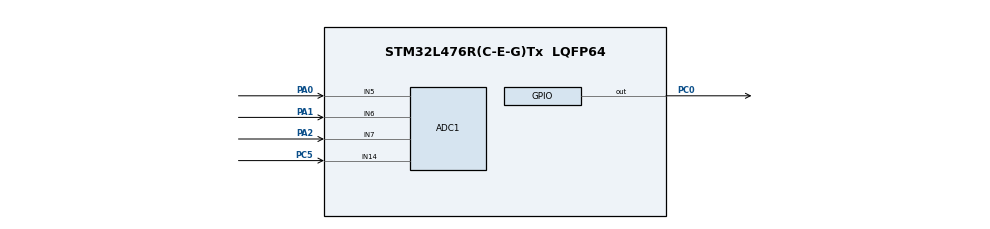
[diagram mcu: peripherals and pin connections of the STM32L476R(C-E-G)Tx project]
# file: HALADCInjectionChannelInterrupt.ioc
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ADC1.Channel-4\#ChannelRegularConversion=ADC_CHANNEL_5
ADC1.NbrOfConversionFlag=1
ADC1.OffsetNumber-4\#ChannelRegularConversion=ADC_OFFSET_NONE
ADC1.Rank-4\#ChannelRegularConversion=1
ADC1.SamplingTime-4\#ChannelRegularConversion=ADC_SAMPLETIME_2CYCLES_5
ADC1.master=1
Mcu.Family=STM32L4
Mcu.Name=STM32L476R(C-E-G)Tx
Mcu.Package=LQFP64
NVIC.PriorityGroup=NVIC_PRIORITYGROUP_4
PA0.Signal=ADCx_IN5
PA1.Signal=ADCx_IN6
PA2.Signal=ADCx_IN7
PC0.Signal=GPIO_Output
PC3.Signal=ADCx_IN4
PC5.Signal=ADCx_IN14
ProjectManager.HeapSize=0x200
ProjectManager.StackSize=0x400
ProjectManager.TargetToolchain=TrueSTUDIO
RCC.ADCFreq_Value=32000000
RCC.HSE_VALUE=8000000
RCC.HSI_VALUE=16000000
RCC.LSE_VALUE=32768
RCC.MSI_VALUE=4000000
RCC.PLLSAI1N=16
RCC.USBFreq_Value=32000000
RCC.VCOOutputFreq_Value=32000000
SH.ADCx_IN14.0=ADC1_IN14,IN14-Single-Ended
SH.ADCx_IN4.0=ADC1_IN4
SH.ADCx_IN5.0=ADC1_IN5,IN5-Single-Ended
SH.ADCx_IN6.0=ADC1_IN6,IN6-Single-Ended
SH.ADCx_IN7.0=ADC1_IN7,IN7-Single-Ended
board=HALADCInjectionChannelInterrupt

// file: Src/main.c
/* USER CODE BEGIN Header */
/**
  ******************************************************************************
  * @file           : main.c
  * @brief          : Main program body
  ******************************************************************************
  * @attention
  *
  * <h2><center>&copy; Copyright (c) 2020 STMicroelectronics.
  * All rights reserved.</center></h2>
  *
  * This software component is licensed by ST under BSD 3-Clause license,
  * the "License"; You may not use this file except in compliance with the
  * License. You may obtain a copy of the License at:
  *                        opensource.org/licenses/BSD-3-Clause
  *
  ******************************************************************************
  */

/* USER CODE END Header */

#include "main.h"

ADC_HandleTypeDef hadc1;

/* USER CODE BEGIN PV */
/* Private variables ---------------------------------------------------------*/
volatile uint16_t ADC_Data[4];
int cnt;
/* USER CODE END PV */

void SystemClock_Config(void);
static void MX_GPIO_Init(void);
static void MX_ADC1_Init(void);
/* USER CODE BEGIN PFP */
/* Private function prototypes -----------------------------------------------*/

/* USER CODE END PFP */

/* USER CODE BEGIN 0 */
int _write ( int file, char *ptr, int len )
{
  int i = 0;
  for ( i = 0; i < len; i++ )
    ITM_SendChar ( *ptr++ );
  return len;
}

void HAL_ADCEx_InjectedConvCpltCallback(ADC_HandleTypeDef* hadc1)
{
	HAL_GPIO_WritePin(GPIOC, GPIO_PIN_0,GPIO_PIN_SET);
	HAL_GPIO_WritePin(GPIOC, GPIO_PIN_0,GPIO_PIN_RESET);
//	cnt++;
//	ADC_Data[0] = HAL_ADCEx_InjectedGetValue(hadc1, ADC_INJECTED_RANK_1);
//	ADC_Data[1] = HAL_ADCEx_InjectedGetValue(hadc1, ADC_INJECTED_RANK_2);
	HAL_ADCEx_InjectedStart_IT(hadc1);
}
/* USER CODE END 0 */

int main(void)
{
  /* USER CODE BEGIN 1 */
	volatile uint16_t adcResults[4];
	//char str[9];
  /* USER CODE END 1 */

  /* MCU Configuration--------------------------------------------------------*/

  /* Reset of all peripherals, Initializes the Flash interface and the Systick. */
  HAL_Init();

  /* Configure the system clock */
  SystemClock_Config();

  /* Initialize all configured peripherals */
  MX_GPIO_Init();
  MX_ADC1_Init();

  /* Infinite loop */
  /* USER CODE BEGIN WHILE */

  cnt = 0;
  HAL_ADCEx_InjectedStart_IT(&hadc1);
  while (1)
  {
//	  HAL_ADCEx_InjectedStart(&hadc1);
//	  HAL_ADC_PollForConversion(&hadc1, 100);//таймаут за которые попробует взять результат. если не добудет - вернется с ошибкой
//	  ADC_Data[0] = HAL_ADCEx_InjectedGetValue(&hadc1, ADC_INJECTED_RANK_1);
//	  ADC_Data[1] = HAL_ADCEx_InjectedGetValue(&hadc1, ADC_INJECTED_RANK_2);
	  printf("A0 = %d, A1 = %d cnt = %d \n",ADC_Data[0], ADC_Data[1], cnt);

		  //_write(0, str1, 3);
	  HAL_Delay(500);

    /* USER CODE END WHILE */

  }
}

void SystemClock_Config(void)
{
  RCC_OscInitTypeDef RCC_OscInitStruct = {0};
  RCC_ClkInitTypeDef RCC_ClkInitStruct = {0};
  RCC_PeriphCLKInitTypeDef PeriphClkInit = {0};

  /** Initializes the CPU, AHB and APB busses clocks
  */
  RCC_OscInitStruct.OscillatorType = RCC_OSCILLATORTYPE_MSI;
  RCC_OscInitStruct.MSIState = RCC_MSI_ON;
  RCC_OscInitStruct.MSICalibrationValue = 0;
  RCC_OscInitStruct.MSIClockRange = RCC_MSIRANGE_6;
  RCC_OscInitStruct.PLL.PLLState = RCC_PLL_NONE;
  if (HAL_RCC_OscConfig(&RCC_OscInitStruct) != HAL_OK)
  {
    Error_Handler();
  }
  /** Initializes the CPU, AHB and APB busses clocks
  */
  RCC_ClkInitStruct.ClockType = RCC_CLOCKTYPE_HCLK|RCC_CLOCKTYPE_SYSCLK
                              |RCC_CLOCKTYPE_PCLK1|RCC_CLOCKTYPE_PCLK2;
  RCC_ClkInitStruct.SYSCLKSource = RCC_SYSCLKSOURCE_MSI;
  RCC_ClkInitStruct.AHBCLKDivider = RCC_SYSCLK_DIV1;
  RCC_ClkInitStruct.APB1CLKDivider = RCC_HCLK_DIV1;
  RCC_ClkInitStruct.APB2CLKDivider = RCC_HCLK_DIV1;

  if (HAL_RCC_ClockConfig(&RCC_ClkInitStruct, FLASH_LATENCY_0) != HAL_OK)
  {
    Error_Handler();
  }
  PeriphClkInit.PeriphClockSelection = RCC_PERIPHCLK_ADC;
  PeriphClkInit.AdcClockSelection = RCC_ADCCLKSOURCE_PLLSAI1;
  PeriphClkInit.PLLSAI1.PLLSAI1Source = RCC_PLLSOURCE_MSI;
  PeriphClkInit.PLLSAI1.PLLSAI1M = 1;
  PeriphClkInit.PLLSAI1.PLLSAI1N = 16;
  PeriphClkInit.PLLSAI1.PLLSAI1P = RCC_PLLP_DIV7;
  PeriphClkInit.PLLSAI1.PLLSAI1Q = RCC_PLLQ_DIV2;
  PeriphClkInit.PLLSAI1.PLLSAI1R = RCC_PLLR_DIV2;
  PeriphClkInit.PLLSAI1.PLLSAI1ClockOut = RCC_PLLSAI1_ADC1CLK;
  if (HAL_RCCEx_PeriphCLKConfig(&PeriphClkInit) != HAL_OK)
  {
    Error_Handler();
  }
  /** Configure the main internal regulator output voltage
  */
  if (HAL_PWREx_ControlVoltageScaling(PWR_REGULATOR_VOLTAGE_SCALE1) != HAL_OK)
  {
    Error_Handler();
  }
}

static void MX_ADC1_Init(void)
{

  ADC_MultiModeTypeDef multimode = {0};
  ADC_ChannelConfTypeDef sConfig = {0};

  /** Common config
  */
  hadc1.Instance = ADC1;
  hadc1.Init.ClockPrescaler = ADC_CLOCK_ASYNC_DIV1;
  hadc1.Init.Resolution = ADC_RESOLUTION_12B;
  hadc1.Init.DataAlign = ADC_DATAALIGN_RIGHT;
  hadc1.Init.ScanConvMode = ADC_SCAN_DISABLE;
  hadc1.Init.EOCSelection = ADC_EOC_SINGLE_CONV;
  hadc1.Init.LowPowerAutoWait = DISABLE;
  hadc1.Init.ContinuousConvMode = DISABLE;
  hadc1.Init.NbrOfConversion = 1;
  hadc1.Init.DiscontinuousConvMode = DISABLE;
  hadc1.Init.ExternalTrigConv = ADC_SOFTWARE_START;
  hadc1.Init.ExternalTrigConvEdge = ADC_EXTERNALTRIGCONVEDGE_NONE;
  hadc1.Init.DMAContinuousRequests = DISABLE;
  hadc1.Init.Overrun = ADC_OVR_DATA_PRESERVED;
  hadc1.Init.OversamplingMode = DISABLE;
  if (HAL_ADC_Init(&hadc1) != HAL_OK)
  {
    Error_Handler();
  }
  /** Configure the ADC multi-mode
  */
  multimode.Mode = ADC_MODE_INDEPENDENT;
  if (HAL_ADCEx_MultiModeConfigChannel(&hadc1, &multimode) != HAL_OK)
  {
    Error_Handler();
  }
  /** Configure Regular Channel
  */
  sConfig.Channel = ADC_CHANNEL_5;
  sConfig.Rank = ADC_REGULAR_RANK_1;
  sConfig.SamplingTime = ADC_SAMPLETIME_2CYCLES_5;
  sConfig.SingleDiff = ADC_SINGLE_ENDED;
  sConfig.OffsetNumber = ADC_OFFSET_NONE;
  sConfig.Offset = 0;
  if (HAL_ADC_ConfigChannel(&hadc1, &sConfig) != HAL_OK)
  {
    Error_Handler();
  }

}

static void MX_GPIO_Init(void)
{
  GPIO_InitTypeDef GPIO_InitStruct = {0};

  /* GPIO Ports Clock Enable */
  __HAL_RCC_GPIOC_CLK_ENABLE();
  __HAL_RCC_GPIOA_CLK_ENABLE();

  /*Configure GPIO pin Output Level */
  HAL_GPIO_WritePin(GPIOC, GPIO_PIN_0, GPIO_PIN_RESET);

  /*Configure GPIO pin : PC0 */
  GPIO_InitStruct.Pin = GPIO_PIN_0;
  GPIO_InitStruct.Mode = GPIO_MODE_OUTPUT_PP;
  GPIO_InitStruct.Pull = GPIO_NOPULL;
  GPIO_InitStruct.Speed = GPIO_SPEED_FREQ_LOW;
  HAL_GPIO_Init(GPIOC, &GPIO_InitStruct);

}

void Error_Handler(void)
{
  while(1)
  {
  }
}

/************************ (C) COPYRIGHT STMicroelectronics *****END OF FILE****/
